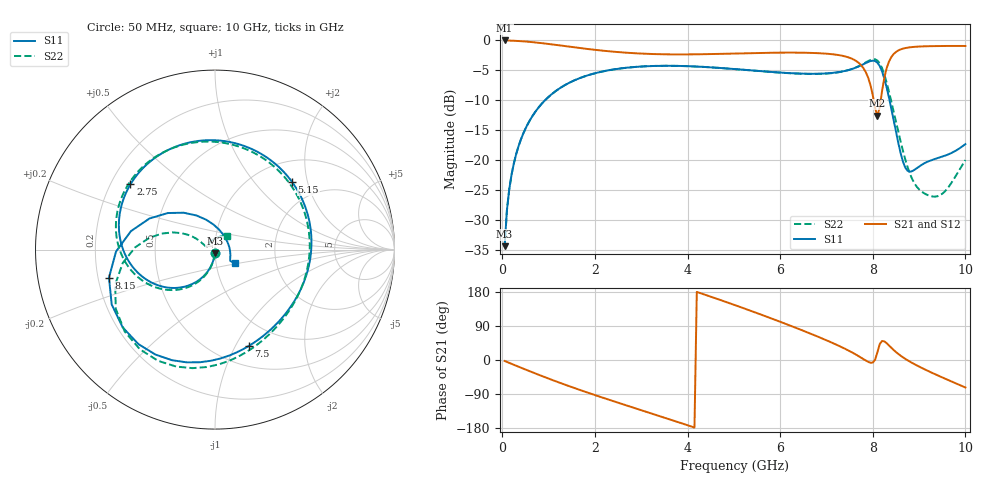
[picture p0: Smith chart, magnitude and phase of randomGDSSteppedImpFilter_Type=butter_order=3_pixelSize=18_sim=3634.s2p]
! freq	dB(S11)	phase(S11)	dB(S12)	phase(S12)
!  dB(S21)	phase(S21)	dB(S22)	phase(S22)
!S-par simulation data
#  GHz  S  DB  R 50
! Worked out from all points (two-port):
!   200 points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, 50 MHz to 10 GHz, reference 50 ohm
!   highest |S21| = -0.01 dB at 50 MHz (marker M1); lowest = -12.6 dB at 8.1 GHz (marker M2)
!   |S21| within 3 dB of the highest: start of sweep to 7.534 GHz; 8.385 GHz to end of sweep
!   lowest |S11| = -34.4 dB at 50 MHz (marker M3), VSWR 1.04, Z = 49.9 - j1.91 ohm
!   |S11| at or under -10 dB: start of sweep to 922.4 MHz; 8.362 GHz to end of sweep
!   |S22| runs from -34.4 to -3.1 dB; largest |S21 - S12| = 0
!   S11 on the Smith chart (normalised r, x): 50 MHz: 1.00, -0.04; 2.75 GHz: 0.28, +0.32; 5.15 GHz: 1.44, +1.61; 7.5 GHz: 0.71, -1.13; 8.15 GHz: 0.25, -0.12; 10 GHz: 1.24, -0.19
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0.05  -34.37 -92.7  -0.01 -2.6  -0.01 -2.6  -34.37 -92.5
0.1  -28.37 -95.5  -0.01 -5.1  -0.01 -5.1  -28.37 -95.2
0.2  -22.42 -100.9  -0.04 -10.2  -0.04 -10.2  -22.42 -100.3
0.5  -14.75 -116.4  -0.18 -25.1  -0.18 -25.1  -14.74 -114.9
1.1  -8.77 -146.0  -0.69 -53.7  -0.69 -53.7  -8.77 -142.6
1.75  -6.08 -175.6  -1.34 -82.2  -1.34 -82.2  -6.07 -170.1
2.75  -4.51 142.3  -2.09 -122.6  -2.09 -122.6  -4.51 151.3
3.4  -4.25 115.6  -2.30 -148.1  -2.30 -148.1  -4.25 126.9
4.25  -4.38 80.1  -2.32 177.6  -2.32 177.6  -4.38 94.4
5.05  -4.80 45.7  -2.18 143.7  -2.18 143.7  -4.81 61.9
5.15  -4.86 41.3  -2.16 139.3  -2.16 139.3  -4.87 57.7
6  -5.37 4.1  -2.04 100.9  -2.04 100.9  -5.38 19.9
6.7  -5.57 -27.4  -2.09 67.4  -2.09 67.4  -5.60 -14.3
7.5  -4.90 -70.7  -2.90 23.5  -2.90 23.5  -4.90 -61.4
7.9  -3.59 -111.3  -6.21 -4.9  -6.21 -4.9  -3.45 -100.7
8.1  -3.72 -152.0  -12.59 20.3  -12.59 20.3  -3.36 -137.8
8.15  -4.28 -165.2  -11.17 42.0  -11.17 42.0  -3.83 -149.3
8.35  -9.56 142.2  -3.53 38.3  -3.53 38.3  -8.56 170.0
8.7  -21.22 48.6  -1.28 3.2  -1.28 3.2  -19.83 150.5
9  -21.07 -14.9  -1.02 -17.4  -1.02 -17.4  -24.88 159.7
9.45  -19.55 -36.1  -0.93 -43.3  -0.93 -43.3  -25.87 121.3
10  -17.32 -33.4  -0.93 -72.5  -0.93 -72.5  -19.98 50.0
